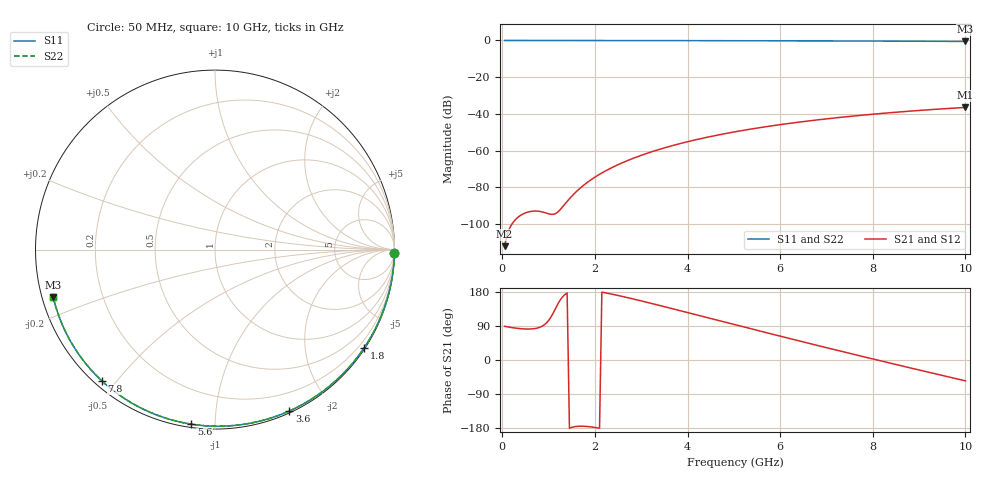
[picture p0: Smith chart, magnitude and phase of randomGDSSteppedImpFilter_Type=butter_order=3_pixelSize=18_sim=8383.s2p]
! freq	dB(S11)	phase(S11)	dB(S12)	phase(S12)
!  dB(S21)	phase(S21)	dB(S22)	phase(S22)
!S-par simulation data
#  GHz  S  DB  R 50
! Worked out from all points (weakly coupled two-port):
!   200 points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, 50 MHz to 10 GHz, reference 50 ohm
!   highest |S21| = -36.47 dB at 10 GHz (marker M1); lowest = -112.0 dB at 50 MHz (marker M2)
!   lowest |S11| = -0.5 dB at 10 GHz (marker M3), VSWR 32.09, Z = 1.59 - j7.23 ohm
!   |S11| at or under -10 dB: nowhere
!   |S22| runs from -0.5 to 0.0 dB; largest |S21 - S12| = 0
!   S11 on the Smith chart (normalised r, x): 50 MHz: open; 1.8 GHz: 0.03, -3.31; 3.6 GHz: 0.02, -1.56; 5.6 GHz: 0.02, -0.87; 7.8 GHz: 0.02, -0.46; 10 GHz: 0.03, -0.14
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0.05  -0.00 -1.0  -112.04 88.8  -112.04 88.8  -0.00 -1.0
0.45  -0.01 -8.5  -94.47 82.1  -94.47 82.1  -0.01 -8.5
0.85  -0.02 -16.0  -93.31 88.5  -93.31 88.5  -0.02 -16.0
1.25  -0.03 -23.5  -92.18 158.3  -92.18 158.3  -0.03 -23.5
1.7  -0.04 -31.8  -80.02 -174.7  -80.02 -174.7  -0.04 -31.8
1.75  -0.04 -32.7  -78.98 -174.9  -78.98 -174.9  -0.04 -32.7
1.8  -0.04 -33.6  -77.99 -175.2  -77.99 -175.2  -0.04 -33.6
2.1  -0.05 -39.0  -72.90 -179.9  -72.90 -179.9  -0.05 -39.0
2.3  -0.05 -42.6  -70.10 175.5  -70.10 175.5  -0.05 -42.6
2.5  -0.06 -46.2  -67.65 170.3  -67.65 170.3  -0.06 -46.2
2.9  -0.07 -53.2  -63.48 158.9  -63.48 158.9  -0.07 -53.2
3.4  -0.08 -61.9  -59.25 143.8  -59.25 143.8  -0.08 -61.9
3.6  -0.09 -65.3  -57.78 137.7  -57.78 137.7  -0.09 -65.3
4.3  -0.11 -77.0  -53.39 115.8  -53.39 115.8  -0.11 -77.0
5.05  -0.14 -89.1  -49.63 92.4  -49.63 92.4  -0.14 -89.1
5.6  -0.16 -97.7  -47.33 75.3  -47.33 75.3  -0.16 -97.7
6.15  -0.19 -106.2  -45.33 58.4  -45.33 58.4  -0.19 -106.2
6.7  -0.22 -114.5  -43.57 41.6  -43.57 41.6  -0.22 -114.5
7.8  -0.31 -130.8  -40.63 8.7  -40.63 8.7  -0.31 -130.8
8.35  -0.35 -138.9  -39.40 -7.5  -39.40 -7.5  -0.35 -138.9
9.2  -0.44 -151.5  -37.76 -32.1  -37.76 -32.1  -0.44 -151.5
10  -0.54 -163.5  -36.47 -55.0  -36.47 -55.0  -0.54 -163.5
